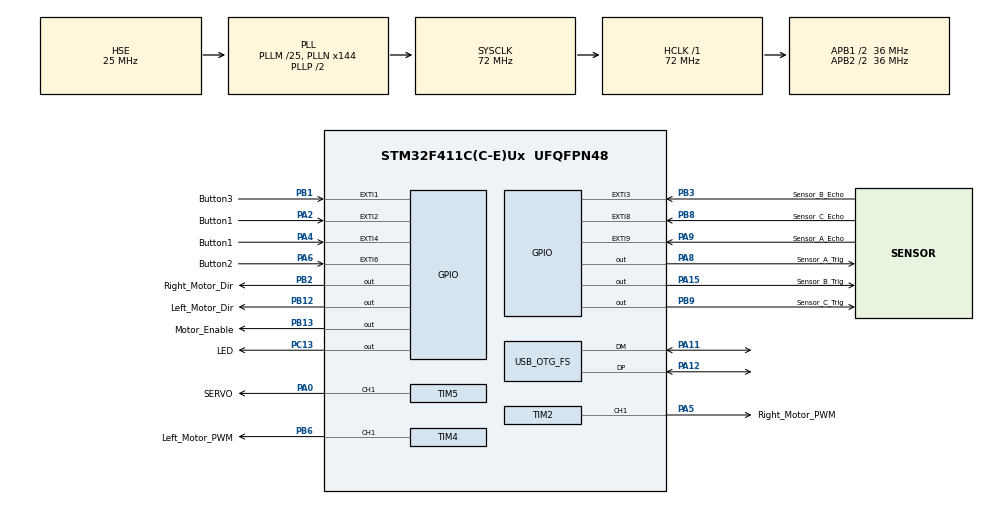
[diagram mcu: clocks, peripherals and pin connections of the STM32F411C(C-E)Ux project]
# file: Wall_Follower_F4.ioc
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Mcu.Family=STM32F4
Mcu.Name=STM32F411C(C-E)Ux
Mcu.Package=UFQFPN48
NVIC.EXTI1_IRQn=true\:0\:0\:false\:false\:true\:true\:true\:true
NVIC.EXTI2_IRQn=true\:0\:0\:false\:false\:true\:true\:true\:true
NVIC.EXTI3_IRQn=true\:0\:0\:false\:false\:true\:true\:true\:true
NVIC.EXTI4_IRQn=true\:0\:0\:false\:false\:true\:true\:true\:true
NVIC.EXTI9_5_IRQn=true\:0\:0\:false\:false\:true\:true\:true\:true
NVIC.OTG_FS_IRQn=true\:0\:0\:false\:false\:true\:false\:true\:true
NVIC.PriorityGroup=NVIC_PRIORITYGROUP_4
NVIC.TIM1_BRK_TIM9_IRQn=true\:0\:0\:false\:false\:true\:true\:true\:true
PA0-WKUP.GPIO_Label=SERVO
PA0-WKUP.Signal=S_TIM5_CH1
PA11.Mode=Device_Only
PA11.Signal=USB_OTG_FS_DM
PA12.Mode=Device_Only
PA12.Signal=USB_OTG_FS_DP
PA13.Mode=Serial_Wire
PA13.Signal=SYS_JTMS-SWDIO
PA14.Mode=Serial_Wire
PA14.Signal=SYS_JTCK-SWCLK
PA15.GPIO_Label=Sensor_B_Trig
PA15.Signal=GPIO_Output
PA2.GPIO_Label=Button1
PA2.GPIO_ModeDefaultEXTI=GPIO_MODE_IT_FALLING
PA2.GPIO_PuPd=GPIO_PULLUP
PA2.Signal=GPXTI2
PA4.GPIO_Label=Button1
PA4.GPIO_ModeDefaultEXTI=GPIO_MODE_IT_FALLING
PA4.GPIO_PuPd=GPIO_PULLUP
PA4.Signal=GPXTI4
PA5.GPIO_Label=Right_Motor_PWM
PA5.Signal=S_TIM2_CH1_ETR
PA6.GPIO_Label=Button2
PA6.GPIO_ModeDefaultEXTI=GPIO_MODE_IT_FALLING
PA6.GPIO_PuPd=GPIO_PULLUP
PA6.Signal=GPXTI6
PA8.GPIO_Label=Sensor_A_Trig
PA8.Signal=GPIO_Output
PA9.GPIO_Label=Sensor_A_Echo
PA9.GPIO_ModeDefaultEXTI=GPIO_MODE_IT_RISING_FALLING
PA9.Signal=GPXTI9
PB1.GPIO_Label=Button3
PB1.Signal=GPXTI1
PB12.GPIO_Label=Left_Motor_Dir
PB12.Signal=GPIO_Output
PB13.GPIO_Label=Motor_Enable
PB13.Signal=GPIO_Output
PB2.GPIO_Label=Right_Motor_Dir
PB2.Signal=GPIO_Output
PB3.GPIO_Label=Sensor_B_Echo
PB3.GPIO_ModeDefaultEXTI=GPIO_MODE_IT_RISING_FALLING
PB3.Signal=GPXTI3
PB6.GPIO_Label=Left_Motor_PWM
PB6.Signal=S_TIM4_CH1
PB8.GPIO_Label=Sensor_C_Echo
PB8.GPIO_ModeDefaultEXTI=GPIO_MODE_IT_RISING_FALLING
PB8.Signal=GPXTI8
PB9.GPIO_Label=Sensor_C_Trig
PB9.Signal=GPIO_Output
PC13-ANTI_TAMP.GPIO_Label=LED
PC13-ANTI_TAMP.PinState=GPIO_PIN_RESET
PC13-ANTI_TAMP.Signal=GPIO_Output
PC14-OSC32_IN.Mode=LSE-External-Oscillator
PC14-OSC32_IN.Signal=RCC_OSC32_IN
PC15-OSC32_OUT.Mode=LSE-External-Oscillator
PC15-OSC32_OUT.Signal=RCC_OSC32_OUT
PH0\ -\ OSC_IN.Mode=HSE-External-Oscillator
PH0\ -\ OSC_IN.Signal=RCC_OSC_IN
PH1\ -\ OSC_OUT.Mode=HSE-External-Oscillator
PH1\ -\ OSC_OUT.Signal=RCC_OSC_OUT
ProjectManager.HeapSize=0x200
ProjectManager.StackSize=0x400
ProjectManager.TargetToolchain=STM32CubeIDE
RCC.48MHZClocksFreq_Value=48000000
RCC.AHBFreq_Value=72000000
RCC.APB1CLKDivider=RCC_HCLK_DIV2
RCC.APB1Freq_Value=36000000
RCC.APB1TimFreq_Value=72000000
RCC.APB2CLKDivider=RCC_HCLK_DIV2
RCC.APB2Freq_Value=36000000
RCC.APB2TimFreq_Value=72000000
RCC.CortexFreq_Value=72000000
RCC.HCLKFreq_Value=72000000
RCC.HSE_VALUE=25000000
RCC.HSI_VALUE=16000000
RCC.PLLM=25
RCC.PLLN=144
RCC.PLLQ=3
RCC.SYSCLKFreq_VALUE=72000000
RCC.SYSCLKSource=RCC_SYSCLKSOURCE_PLLCLK
RCC.VCOOutputFreq_Value=144000000
SH.S_TIM2_CH1_ETR.0=TIM2_CH1,PWM Generation1 CH1
SH.S_TIM4_CH1.0=TIM4_CH1,PWM Generation1 CH1
SH.S_TIM5_CH1.0=TIM5_CH1,PWM Generation1 CH1
TIM2.AutoReloadPreload=TIM_AUTORELOAD_PRELOAD_ENABLE
TIM2.Channel-PWM\ Generation1\ CH1=TIM_CHANNEL_1
TIM2.Period=65535
TIM4.AutoReloadPreload=TIM_AUTORELOAD_PRELOAD_ENABLE
TIM4.Channel-PWM\ Generation1\ CH1=TIM_CHANNEL_1
TIM5.Channel-PWM\ Generation1\ CH1=TIM_CHANNEL_1
TIM5.Period=65535
TIM9.Prescaler=20-1
USB_DEVICE.CLASS_NAME_FS=CDC
USB_DEVICE.VirtualMode=Cdc
USB_DEVICE.VirtualModeFS=Cdc_FS
USB_OTG_FS.VirtualMode=Device_Only
VP_TIM2_VS_ClockSourceINT.Mode=Internal
VP_TIM4_VS_ClockSourceINT.Mode=Internal
VP_TIM9_VS_ClockSourceINT.Mode=Internal
VP_USB_DEVICE_VS_USB_DEVICE_CDC_FS.Mode=CDC_FS
board=custom

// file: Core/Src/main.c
/* USER CODE BEGIN Header */
/**
 ******************************************************************************
 * @file           : main.c
 * @brief          : Main program body
 ******************************************************************************
 * @attention
 *
 * Copyright (c) 2023 STMicroelectronics.
 * All rights reserved.
 *
 * This software is licensed under terms that can be found in the LICENSE file
 * in the root directory of this software component.
 * If no LICENSE file comes with this software, it is provided AS-IS.
 *
 ******************************************************************************
 */
/* USER CODE END Header */
#include "main.h"
#include "usb_device.h"

/* USER CODE BEGIN Includes */
#include "physical_parameters.h"
#include "Motors.h"
#include "Control.h"
#include "Sensors.h"
#include "debug.h"
#include "Servo_Control.h"
#include <math.h>
/* USER CODE END Includes */

/* USER CODE BEGIN PM */
ultra_sonic_t front_sensor = { .sensor_echo_pin = Sensor_A_Echo_Pin, .sensor_echo_port = Sensor_A_Echo_GPIO_Port, .sensor_trig_pin = Sensor_A_Trig_Pin, .sensor_trig_port = Sensor_A_Trig_GPIO_Port };
ultra_sonic_t top_left_sensor = { .sensor_echo_pin = Sensor_B_Echo_Pin, .sensor_echo_port = Sensor_B_Echo_GPIO_Port, .sensor_trig_pin = Sensor_B_Trig_Pin, .sensor_trig_port = Sensor_B_Trig_GPIO_Port };
ultra_sonic_t bottom_left_sensor = { .sensor_echo_pin = Sensor_C_Echo_Pin, .sensor_echo_port = Sensor_C_Echo_GPIO_Port, .sensor_trig_pin = Sensor_B_Trig_Pin, .sensor_trig_port = Sensor_C_Trig_GPIO_Port };
/* USER CODE END PM */

TIM_HandleTypeDef htim2;
TIM_HandleTypeDef htim4;
TIM_HandleTypeDef htim5;
TIM_HandleTypeDef htim9;

/* USER CODE BEGIN PV */
TIM_HandleTypeDef *Right_Motor_Timer = &htim2;
TIM_HandleTypeDef *Left_Motor_Timer = &htim4;
TIM_HandleTypeDef *Servo_Timer = &htim5;
/* USER CODE END PV */

void SystemClock_Config(void);
static void MX_GPIO_Init(void);
static void MX_TIM4_Init(void);
static void MX_TIM2_Init(void);
static void MX_TIM5_Init(void);
static void MX_TIM9_Init(void);

/* USER CODE BEGIN 0 */

uint32_t micros() {
	return DWT->CYCCNT / 72;
}

uint32_t millis() {
	return DWT->CYCCNT / 72000;
}

void HAL_GPIO_EXTI_Callback(uint16_t GPIO_Pin) {
	uint32_t time_diff = 0;
	switch (GPIO_Pin) {
	case Sensor_A_Echo_Pin:
		if (front_sensor.start_time == 0) {
			front_sensor.start_time = micros();		// Time in uS
		} else {
			time_diff = micros() - front_sensor.start_time;
			float distance_read = time_diff / 1E6 * SPEED_OF_SOUND / 2;
			if (distance_read <= MAX_SENSOR_READ) {
				front_sensor.distance_read = distance_read * DIST_FILTER_ALPHA + front_sensor.distance_read * (1 - DIST_FILTER_ALPHA);
			}
			front_sensor.start_time = 0;
		}
		break;
	case Sensor_B_Echo_Pin:
		if (top_left_sensor.start_time == 0) {
			top_left_sensor.start_time = micros();		// Time in uS
		} else {
			time_diff = micros() - top_left_sensor.start_time;
			float distance_read = time_diff / 1E6 * SPEED_OF_SOUND / 2;
			if (distance_read <= MAX_SENSOR_READ) {
				top_left_sensor.distance_read = distance_read * DIST_FILTER_ALPHA + top_left_sensor.distance_read * (1 - DIST_FILTER_ALPHA);
			}
			top_left_sensor.start_time = 0;
		}
		break;
	case Sensor_C_Echo_Pin:
		if (bottom_left_sensor.start_time == 0) {
			bottom_left_sensor.start_time = micros();		// Time in uS
		} else {
			time_diff = micros() - bottom_left_sensor.start_time;
			float distance_read = time_diff / 1E6 * SPEED_OF_SOUND / 2;
			if (distance_read <= MAX_SENSOR_READ) {
				bottom_left_sensor.distance_read = distance_read * DIST_FILTER_ALPHA + bottom_left_sensor.distance_read * (1 - DIST_FILTER_ALPHA);
			}
			bottom_left_sensor.start_time = 0;
		}
		break;
		break;
	case Button1_Pin:
		break;
	case Button2_Pin:
		break;
	case Button3_Pin:
		break;
	}
}

void HAL_TIM_PeriodElapsedCallback(TIM_HandleTypeDef *htim) {
	if (htim = &htim9) {
		trigger_sensor(&front_sensor);
	}
}

uint32_t DWT_Delay_Init(void) {
	/* Disable TRC */
	CoreDebug->DEMCR &= ~CoreDebug_DEMCR_TRCENA_Msk; // ~0x01000000;
	/* Enable TRC */
	CoreDebug->DEMCR |= CoreDebug_DEMCR_TRCENA_Msk; // 0x01000000;

	/* Disable clock cycle counter */
	DWT->CTRL &= ~DWT_CTRL_CYCCNTENA_Msk; //~0x00000001;
	/* Enable  clock cycle counter */
	DWT->CTRL |= DWT_CTRL_CYCCNTENA_Msk; //0x00000001;

	/* Reset the clock cycle counter value */
	DWT->CYCCNT = 0;

	/* 3 NO OPERATION instructions */
	__ASM volatile ("NOP");
	__ASM volatile ("NOP");
	__ASM volatile ("NOP");

	/* Check if clock cycle counter has started */
	if (DWT->CYCCNT) {
		return 0; /*clock cycle counter started*/
	} else {
		return 1; /*clock cycle counter not started*/
	}
}

motor_t left_motor;
motor_t right_motor;
robot_pos_t robot_pos;
//servo_params servo_config = { .SERVO_PWM_FREQ = 60, .TIM_CLK_FREQ = 72E6, .max_pulse_ms = 2.4, .min_pulse_ms = 0.6, .servo_range = 180 }; // Config for HiTech HS-55 Servo
servo_params servo_config = { .SERVO_PWM_FREQ = 60, .TIM_CLK_FREQ = 72E6, .max_pulse_ms = 2, .min_pulse_ms = 1, .servo_range = 180 };	// Config for esc

uint32_t prev_time_ms = 0;

enum debug_level dbg_level;
enum debug_level dbg = DBG;

// Target position to reach
float target_vector[3][2] = { { 0.9, 0.8 }, { 0.3, 0.8 } };
uint8_t waypoint_idx = 0;
float target_dist_threshold = 0.1;

float drive_speed = 0.05; // 0.05

/* USER CODE END 0 */

int main(void) {
	/* USER CODE BEGIN 1 */
	left_motor.motor_timer = Left_Motor_Timer;
	left_motor.dir_pin_port = Left_Motor_Dir_GPIO_Port;
	left_motor.dir_pin = Left_Motor_Dir_Pin;
	left_motor.motor_enable_port = Motor_Enable_GPIO_Port;
	left_motor.motor_enable_pin = Motor_Enable_Pin;
	left_motor.rate_rps = 0;

	right_motor.motor_timer = Right_Motor_Timer;
	right_motor.dir_pin_port = Right_Motor_Dir_GPIO_Port;
	right_motor.dir_pin = Right_Motor_Dir_Pin;
	right_motor.motor_enable_port = Motor_Enable_GPIO_Port;
	right_motor.motor_enable_pin = Motor_Enable_Pin;
	right_motor.rate_rps = 0;

	robot_pos.left_motor = &left_motor;
	robot_pos.right_motor = &right_motor;
	// Inital position
	robot_pos.x = 0.30;
	robot_pos.y = 0.20;
	// Initial angle
	robot_pos.theta = M_PI / 4;
	robot_pos.drive_speed = drive_speed;

	/* USER CODE END 1 */

	/* MCU Configuration--------------------------------------------------------*/

	/* Reset of all peripherals, Initializes the Flash interface and the Systick. */
	HAL_Init();

	/* Configure the system clock */
	SystemClock_Config();

	/* Initialize all configured peripherals */
	MX_GPIO_Init();
	MX_TIM4_Init();
	MX_USB_DEVICE_Init();
	MX_TIM2_Init();
	MX_TIM5_Init();
	MX_TIM9_Init();
	/* USER CODE BEGIN 2 */
	// Disable motors
	HAL_GPIO_WritePin(left_motor.motor_enable_port, left_motor.motor_enable_pin, GPIO_PIN_RESET);
	HAL_GPIO_WritePin(right_motor.motor_enable_port, right_motor.motor_enable_pin, GPIO_PIN_RESET);

	// Initialise DWT timer
	uint32_t res = DWT_Delay_Init();

	servo_init(Servo_Timer);
	HAL_Delay(3000);
	HAL_TIM_Base_Start_IT(&htim9);

//	HAL_Delay(1000);
//	uint16_t write = mapServoAngleToValue(0);
//	set_servo_position(SERVO_1, Servo_Timer, write);
//	HAL_Delay(5000);
//
//	for (float angle = -90; angle < 90; angle++) {
//		write = mapServoAngleToValue(angle);
//		set_servo_position(SERVO_1, Servo_Timer, write);
//		HAL_Delay(100);
//	}
//	turn_angle(2*M_PI, drive_speed, &left_motor, &right_motor);
//	drive_distance(0.45, drive_speed, &left_motor, &right_motor);

//	float set_of_vectors[1000][2];
//	turn_scan(M_PI, drive_speed, &left_motor, &right_motor, set_of_vectors, &front_sensor);
//	for(int i=0;i<1000;i++) {
//		char print_stat[64];
//		size_t sz = snprintf(print_stat, sizeof(print_stat), "%f,%f\r\n", set_of_vectors[i][0],set_of_vectors[i][1]);
//		debug_print(print_stat, sz, dbg);
//	}
//	while (1) {
//		char print_stat[64];
//		size_t sz = snprintf(print_stat, sizeof(print_stat), "%f\r\n", front_sensor.distance_read);
//		debug_print(print_stat, sz, dbg);
//		HAL_Delay(100);
//	}

	float angle_turned;
	float dist_driven;
	float turn_angle_val;
	float dist_to_target;
	float angle_to_target;
	/* Drive to first target */
	float target_x = target_vector[0][0];
	float target_y = target_vector[0][1];
	dist_to_target = sqrt(pow(target_x - robot_pos.x, 2) + pow(target_y - robot_pos.y, 2));
	angle_to_target = atan2(target_y - robot_pos.y, target_x - robot_pos.x);
	turn_angle_val = angle_to_target - robot_pos.theta;
	if (turn_angle_val > M_PI)
		turn_angle_val -= 2 * M_PI;
	else if (turn_angle_val < -M_PI)
		turn_angle_val += 2 * M_PI;
	if (fabs(turn_angle_val) > 0.01) {
		angle_turned = turn_angle(turn_angle_val, drive_speed, &left_motor, &right_motor);
		robot_pos.theta += angle_turned;
	}
	float ramp_dist = drive_forward_smooth(drive_speed, &left_motor, &right_motor);
	float run_time = (dist_to_target - ramp_dist) / drive_speed;
	uint16_t start_time = millis();
	while ((millis() - start_time) < run_time * 1000) {
		char print_string[64];
		size_t sz = snprintf(print_string, sizeof(print_string), "%d, %f\r\n", millis() - start_time, run_time * 1000);
		debug_print(print_string, sz, dbg);
		HAL_Delay(50);
	}
	lock_motors(&left_motor, &right_motor);
	HAL_Delay(50);
	disable_motors(&right_motor);
	robot_pos.x += dist_to_target * cos(robot_pos.theta);
	robot_pos.y += dist_to_target * sin(robot_pos.theta);

	char print_string[64];
	size_t sz = snprintf(print_string, sizeof(print_string), "robot pose [%f, %f, %f]\r\n", robot_pos.x, robot_pos.y, robot_pos.theta);
	debug_print(print_string, sz, dbg);
	HAL_Delay(10000);

	/* Drive to second target */
	set_servo_position(SERVO_1, Servo_Timer, mapServoAngleToValue(0));
	target_x = target_vector[1][0];
	target_y = target_vector[1][1];
	dist_to_target = sqrt(pow(target_x - robot_pos.x, 2) + pow(target_y - robot_pos.y, 2));
	angle_to_target = atan2(target_y - robot_pos.y, target_x - robot_pos.x);
	turn_angle_val = angle_to_target - robot_pos.theta;
	if (turn_angle_val > M_PI)
		turn_angle_val -= 2 * M_PI;
	else if (turn_angle_val < -M_PI)
		turn_angle_val += 2 * M_PI;
	if (fabs(turn_angle_val) > 0.01) {
		angle_turned = turn_angle(turn_angle_val, drive_speed, &left_motor, &right_motor);
		robot_pos.theta += angle_turned;
	}
	ramp_dist = drive_forward_smooth(drive_speed, &left_motor, &right_motor);
	run_time = (dist_to_target - ramp_dist) / drive_speed;
	start_time = millis();
	while ((millis() - start_time) < run_time * 1000) {
		sz = snprintf(print_string, sizeof(print_string), "%d, %f\r\n", millis() - start_time, run_time * 1000);
		debug_print(print_string, sz, dbg);
		HAL_Delay(50);
		if (front_sensor.distance_read < OBSTACLE_DIST_THRESHOLD) {
			// Toggle indicator LED ON
			HAL_GPIO_WritePin(GPIOC, GPIO_PIN_13, GPIO_PIN_SET);
			// Stop
			lock_motors(&left_motor, &right_motor);
			HAL_Delay(50);
			disable_motors(&right_motor);
			float obstical_detect_time = millis();
			float distance_driven_to_obj = drive_speed * (obstical_detect_time - start_time) / 1000;
			run_time = 0;
			// Drive around obstacle
			// Reverse drive 0.1m
			float reverse_dist = -0.1;
			dist_driven = drive_distance(reverse_dist, drive_speed, &left_motor, &right_motor);
			robot_pos.x += dist_driven * cos(robot_pos.theta);
			robot_pos.y += dist_driven * sin(robot_pos.theta);

			// Toggle indicator LED ON
			HAL_GPIO_WritePin(GPIOC, GPIO_PIN_13, GPIO_PIN_RESET);

			// Turn left 90 degrees
			angle_turned = turn_angle(M_PI / 2, drive_speed, &left_motor, &right_motor);
			robot_pos.theta += angle_turned;

			// Drive forward to avoid target
			float avoid_dist = 0.4;
			dist_driven = drive_distance(avoid_dist, drive_speed, &left_motor, &right_motor);
			robot_pos.x += dist_driven * cos(robot_pos.theta);
			robot_pos.y += dist_driven * sin(robot_pos.theta);

			// Turn right 90 degrees
			angle_turned = turn_angle(-M_PI / 2, drive_speed, &left_motor, &right_motor);
			robot_pos.theta += angle_turned;

			// Drive forward to align with target
			float drive_dist = dist_to_target - ramp_dist - distance_driven_to_obj - reverse_dist + 0.05;
			dist_driven = drive_distance(drive_dist, drive_speed, &left_motor, &right_motor);

			// Turn right
			angle_turned = turn_angle(-M_PI / 2, drive_speed, &left_motor, &right_motor);
			robot_pos.theta += angle_turned;

			// Drive to target
			drive_distance(avoid_dist, drive_speed, &left_motor, &right_motor);
		}
	}
	lock_motors(&left_motor, &right_motor);
	HAL_Delay(50);
	disable_motors(&right_motor);

	robot_pos.x += dist_driven * cos(robot_pos.theta);
	robot_pos.y += dist_driven * sin(robot_pos.theta);

	sz = snprintf(print_string, sizeof(print_string), "robot pose [%f, %f, %f]\r\n", robot_pos.x, robot_pos.y, robot_pos.theta);
	debug_print(print_string, sz, dbg);
	for (int i = 0; i < 10; i++) {
		set_servo_position(SERVO_1, Servo_Timer, mapServoAngleToValue(-90));
		HAL_Delay(300);
		set_servo_position(SERVO_1, Servo_Timer, mapServoAngleToValue(90));
		HAL_Delay(300);
	}

	/* USER CODE END 2 */

	/* Infinite loop */
	while (1) {

		/* USER CODE BEGIN 3 */

//	HAL_GPIO_WritePin(GPIOC, GPIO_PIN_13, GPIO_PIN_SET);
//	servo1_pos = mapServoAngleToValue(i++);
//	set_servo_position(SERVO_1, Servo_Timer, servo1_pos);
//	HAL_Delay(100);
//	HAL_GPIO_WritePin(GPIOC, GPIO_PIN_13, GPIO_PIN_RESET);
//	HAL_Delay(100);
	}
	/* USER CODE END 3 */
}

void SystemClock_Config(void) {
	RCC_OscInitTypeDef RCC_OscInitStruct = { 0 };
	RCC_ClkInitTypeDef RCC_ClkInitStruct = { 0 };

	/** Configure the main internal regulator output voltage
	 */
	__HAL_RCC_PWR_CLK_ENABLE();
	__HAL_PWR_VOLTAGESCALING_CONFIG(PWR_REGULATOR_VOLTAGE_SCALE1);

	/** Initializes the RCC Oscillators according to the specified parameters
	 * in the RCC_OscInitTypeDef structure.
	 */
	RCC_OscInitStruct.OscillatorType = RCC_OSCILLATORTYPE_HSE;
	RCC_OscInitStruct.HSEState = RCC_HSE_ON;
	RCC_OscInitStruct.PLL.PLLState = RCC_PLL_ON;
	RCC_OscInitStruct.PLL.PLLSource = RCC_PLLSOURCE_HSE;
	RCC_OscInitStruct.PLL.PLLM = 25;
	RCC_OscInitStruct.PLL.PLLN = 144;
	RCC_OscInitStruct.PLL.PLLP = RCC_PLLP_DIV2;
	RCC_OscInitStruct.PLL.PLLQ = 3;
	if (HAL_RCC_OscConfig(&RCC_OscInitStruct) != HAL_OK) {
		Error_Handler();
	}

	/** Initializes the CPU, AHB and APB buses clocks
	 */
	RCC_ClkInitStruct.ClockType = RCC_CLOCKTYPE_HCLK | RCC_CLOCKTYPE_SYSCLK | RCC_CLOCKTYPE_PCLK1 | RCC_CLOCKTYPE_PCLK2;
	RCC_ClkInitStruct.SYSCLKSource = RCC_SYSCLKSOURCE_PLLCLK;
	RCC_ClkInitStruct.AHBCLKDivider = RCC_SYSCLK_DIV1;
	RCC_ClkInitStruct.APB1CLKDivider = RCC_HCLK_DIV2;
	RCC_ClkInitStruct.APB2CLKDivider = RCC_HCLK_DIV2;

	if (HAL_RCC_ClockConfig(&RCC_ClkInitStruct, FLASH_LATENCY_2) != HAL_OK) {
		Error_Handler();
	}
}

static void MX_TIM2_Init(void) {

	TIM_ClockConfigTypeDef sClockSourceConfig = { 0 };
	TIM_MasterConfigTypeDef sMasterConfig = { 0 };
	TIM_OC_InitTypeDef sConfigOC = { 0 };

	htim2.Instance = TIM2;
	htim2.Init.Prescaler = 0;
	htim2.Init.CounterMode = TIM_COUNTERMODE_UP;
	htim2.Init.Period = 65535;
	htim2.Init.ClockDivision = TIM_CLOCKDIVISION_DIV1;
	htim2.Init.AutoReloadPreload = TIM_AUTORELOAD_PRELOAD_ENABLE;
	if (HAL_TIM_Base_Init(&htim2) != HAL_OK) {
		Error_Handler();
	}
	sClockSourceConfig.ClockSource = TIM_CLOCKSOURCE_INTERNAL;
	if (HAL_TIM_ConfigClockSource(&htim2, &sClockSourceConfig) != HAL_OK) {
		Error_Handler();
	}
	if (HAL_TIM_PWM_Init(&htim2) != HAL_OK) {
		Error_Handler();
	}
	sMasterConfig.MasterOutputTrigger = TIM_TRGO_RESET;
	sMasterConfig.MasterSlaveMode = TIM_MASTERSLAVEMODE_DISABLE;
	if (HAL_TIMEx_MasterConfigSynchronization(&htim2, &sMasterConfig) != HAL_OK) {
		Error_Handler();
	}
	sConfigOC.OCMode = TIM_OCMODE_PWM1;
	sConfigOC.Pulse = 0;
	sConfigOC.OCPolarity = TIM_OCPOLARITY_HIGH;
	sConfigOC.OCFastMode = TIM_OCFAST_DISABLE;
	if (HAL_TIM_PWM_ConfigChannel(&htim2, &sConfigOC, TIM_CHANNEL_1) != HAL_OK) {
		Error_Handler();
	}
	HAL_TIM_MspPostInit(&htim2);

}

static void MX_TIM4_Init(void) {

	TIM_ClockConfigTypeDef sClockSourceConfig = { 0 };
	TIM_MasterConfigTypeDef sMasterConfig = { 0 };
	TIM_OC_InitTypeDef sConfigOC = { 0 };

	htim4.Instance = TIM4;
	htim4.Init.Prescaler = 0;
	htim4.Init.CounterMode = TIM_COUNTERMODE_UP;
	htim4.Init.Period = 65535;
	htim4.Init.ClockDivision = TIM_CLOCKDIVISION_DIV1;
	htim4.Init.AutoReloadPreload = TIM_AUTORELOAD_PRELOAD_ENABLE;
	if (HAL_TIM_Base_Init(&htim4) != HAL_OK) {
		Error_Handler();
	}
	sClockSourceConfig.ClockSource = TIM_CLOCKSOURCE_INTERNAL;
	if (HAL_TIM_ConfigClockSource(&htim4, &sClockSourceConfig) != HAL_OK) {
		Error_Handler();
	}
	if (HAL_TIM_PWM_Init(&htim4) != HAL_OK) {
		Error_Handler();
	}
	sMasterConfig.MasterOutputTrigger = TIM_TRGO_RESET;
	sMasterConfig.MasterSlaveMode = TIM_MASTERSLAVEMODE_DISABLE;
	if (HAL_TIMEx_MasterConfigSynchronization(&htim4, &sMasterConfig) != HAL_OK) {
		Error_Handler();
	}
	sConfigOC.OCMode = TIM_OCMODE_PWM1;
	sConfigOC.Pulse = 0;
	sConfigOC.OCPolarity = TIM_OCPOLARITY_HIGH;
	sConfigOC.OCFastMode = TIM_OCFAST_DISABLE;
	if (HAL_TIM_PWM_ConfigChannel(&htim4, &sConfigOC, TIM_CHANNEL_1) != HAL_OK) {
		Error_Handler();
	}
	HAL_TIM_MspPostInit(&htim4);

}

static void MX_TIM5_Init(void) {

	TIM_MasterConfigTypeDef sMasterConfig = { 0 };
	TIM_OC_InitTypeDef sConfigOC = { 0 };

	htim5.Instance = TIM5;
	htim5.Init.Prescaler = 0;
	htim5.Init.CounterMode = TIM_COUNTERMODE_UP;
	htim5.Init.Period = 65535;
	htim5.Init.ClockDivision = TIM_CLOCKDIVISION_DIV1;
	htim5.Init.AutoReloadPreload = TIM_AUTORELOAD_PRELOAD_DISABLE;
	if (HAL_TIM_PWM_Init(&htim5) != HAL_OK) {
		Error_Handler();
	}
	sMasterConfig.MasterOutputTrigger = TIM_TRGO_RESET;
	sMasterConfig.MasterSlaveMode = TIM_MASTERSLAVEMODE_DISABLE;
	if (HAL_TIMEx_MasterConfigSynchronization(&htim5, &sMasterConfig) != HAL_OK) {
		Error_Handler();
	}
	sConfigOC.OCMode = TIM_OCMODE_PWM1;
	sConfigOC.Pulse = 0;
	sConfigOC.OCPolarity = TIM_OCPOLARITY_HIGH;
	sConfigOC.OCFastMode = TIM_OCFAST_DISABLE;
	if (HAL_TIM_PWM_ConfigChannel(&htim5, &sConfigOC, TIM_CHANNEL_1) != HAL_OK) {
		Error_Handler();
	}
	HAL_TIM_MspPostInit(&htim5);

}

static void MX_TIM9_Init(void) {

	TIM_ClockConfigTypeDef sClockSourceConfig = { 0 };

	htim9.Instance = TIM9;
	htim9.Init.Prescaler = 20 - 1;
	htim9.Init.CounterMode = TIM_COUNTERMODE_UP;
	htim9.Init.Period = 65535;
	htim9.Init.ClockDivision = TIM_CLOCKDIVISION_DIV1;
	htim9.Init.AutoReloadPreload = TIM_AUTORELOAD_PRELOAD_DISABLE;
	if (HAL_TIM_Base_Init(&htim9) != HAL_OK) {
		Error_Handler();
	}
	sClockSourceConfig.ClockSource = TIM_CLOCKSOURCE_INTERNAL;
	if (HAL_TIM_ConfigClockSource(&htim9, &sClockSourceConfig) != HAL_OK) {
		Error_Handler();
	}

}

static void MX_GPIO_Init(void) {
	GPIO_InitTypeDef GPIO_InitStruct = { 0 };

	/* GPIO Ports Clock Enable */
	__HAL_RCC_GPIOC_CLK_ENABLE();
	__HAL_RCC_GPIOH_CLK_ENABLE();
	__HAL_RCC_GPIOA_CLK_ENABLE();
	__HAL_RCC_GPIOB_CLK_ENABLE();

	/*Configure GPIO pin Output Level */
	HAL_GPIO_WritePin(LED_GPIO_Port, LED_Pin, GPIO_PIN_RESET);

	/*Configure GPIO pin Output Level */
	HAL_GPIO_WritePin(GPIOB, Right_Motor_Dir_Pin | Left_Motor_Dir_Pin | Motor_Enable_Pin | Sensor_C_Trig_Pin, GPIO_PIN_RESET);

	/*Configure GPIO pin Output Level */
	HAL_GPIO_WritePin(GPIOA, Sensor_A_Trig_Pin | Sensor_B_Trig_Pin, GPIO_PIN_RESET);

	/*Configure GPIO pin : LED_Pin */
	GPIO_InitStruct.Pin = LED_Pin;
	GPIO_InitStruct.Mode = GPIO_MODE_OUTPUT_PP;
	GPIO_InitStruct.Pull = GPIO_NOPULL;
	GPIO_InitStruct.Speed = GPIO_SPEED_FREQ_LOW;
	HAL_GPIO_Init(LED_GPIO_Port, &GPIO_InitStruct);

	/*Configure GPIO pins : Button1_Pin Button1A4_Pin Button2_Pin */
	GPIO_InitStruct.Pin = Button1_Pin | Button1A4_Pin | Button2_Pin;
	GPIO_InitStruct.Mode = GPIO_MODE_IT_FALLING;
	GPIO_InitStruct.Pull = GPIO_PULLUP;
	HAL_GPIO_Init(GPIOA, &GPIO_InitStruct);

	/*Configure GPIO pin : Button3_Pin */
	GPIO_InitStruct.Pin = Button3_Pin;
	GPIO_InitStruct.Mode = GPIO_MODE_IT_RISING;
	GPIO_InitStruct.Pull = GPIO_NOPULL;
	HAL_GPIO_Init(Button3_GPIO_Port, &GPIO_InitStruct);

	/*Configure GPIO pins : Right_Motor_Dir_Pin Left_Motor_Dir_Pin Motor_Enable_Pin Sensor_C_Trig_Pin */
	GPIO_InitStruct.Pin = Right_Motor_Dir_Pin | Left_Motor_Dir_Pin | Motor_Enable_Pin | Sensor_C_Trig_Pin;
	GPIO_InitStruct.Mode = GPIO_MODE_OUTPUT_PP;
	GPIO_InitStruct.Pull = GPIO_NOPULL;
	GPIO_InitStruct.Speed = GPIO_SPEED_FREQ_LOW;
	HAL_GPIO_Init(GPIOB, &GPIO_InitStruct);

	/*Configure GPIO pins : Sensor_A_Trig_Pin Sensor_B_Trig_Pin */
	GPIO_InitStruct.Pin = Sensor_A_Trig_Pin | Sensor_B_Trig_Pin;
	GPIO_InitStruct.Mode = GPIO_MODE_OUTPUT_PP;
	GPIO_InitStruct.Pull = GPIO_NOPULL;
	GPIO_InitStruct.Speed = GPIO_SPEED_FREQ_LOW;
	HAL_GPIO_Init(GPIOA, &GPIO_InitStruct);

	/*Configure GPIO pin : Sensor_A_Echo_Pin */
	GPIO_InitStruct.Pin = Sensor_A_Echo_Pin;
	GPIO_InitStruct.Mode = GPIO_MODE_IT_RISING_FALLING;
	GPIO_InitStruct.Pull = GPIO_NOPULL;
	HAL_GPIO_Init(Sensor_A_Echo_GPIO_Port, &GPIO_InitStruct);

	/*Configure GPIO pins : Sensor_B_Echo_Pin Sensor_C_Echo_Pin */
	GPIO_InitStruct.Pin = Sensor_B_Echo_Pin | Sensor_C_Echo_Pin;
	GPIO_InitStruct.Mode = GPIO_MODE_IT_RISING_FALLING;
	GPIO_InitStruct.Pull = GPIO_NOPULL;
	HAL_GPIO_Init(GPIOB, &GPIO_InitStruct);

	/* EXTI interrupt init*/
	HAL_NVIC_SetPriority(EXTI1_IRQn, 0, 0);
	HAL_NVIC_EnableIRQ(EXTI1_IRQn);

	HAL_NVIC_SetPriority(EXTI2_IRQn, 0, 0);
	HAL_NVIC_EnableIRQ(EXTI2_IRQn);

	HAL_NVIC_SetPriority(EXTI3_IRQn, 0, 0);
	HAL_NVIC_EnableIRQ(EXTI3_IRQn);

	HAL_NVIC_SetPriority(EXTI4_IRQn, 0, 0);
	HAL_NVIC_EnableIRQ(EXTI4_IRQn);

	HAL_NVIC_SetPriority(EXTI9_5_IRQn, 0, 0);
	HAL_NVIC_EnableIRQ(EXTI9_5_IRQn);

}

void Error_Handler(void) {
	__disable_irq();
	while (1) {
	}
}
